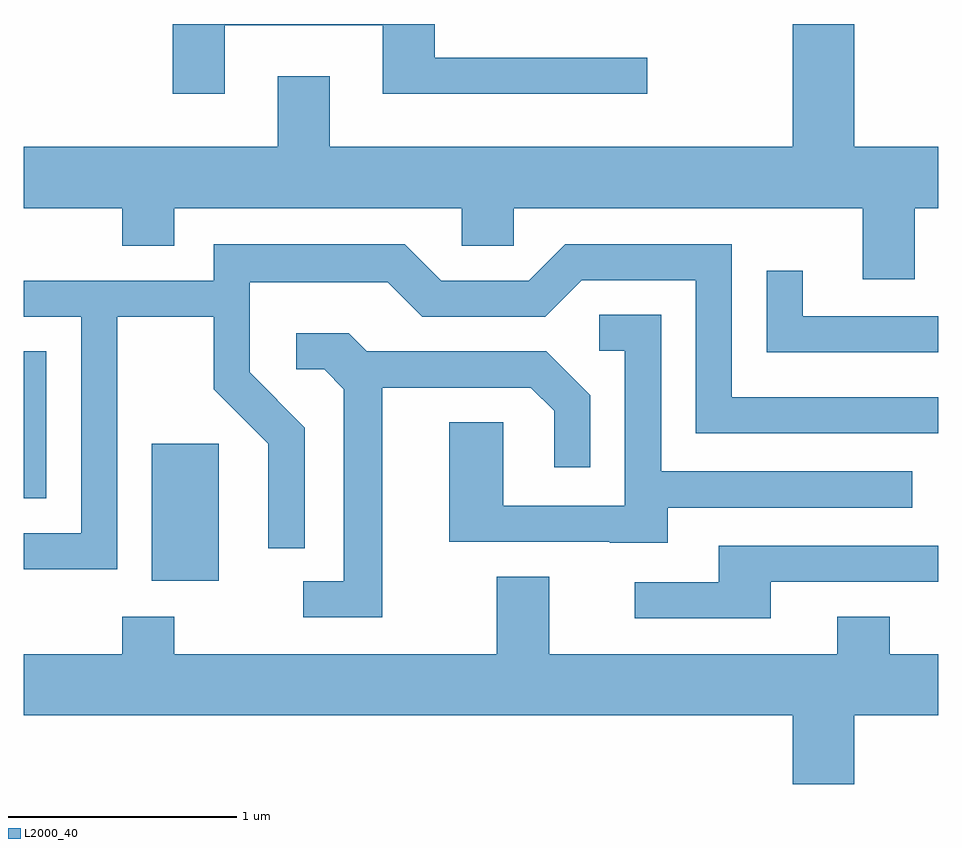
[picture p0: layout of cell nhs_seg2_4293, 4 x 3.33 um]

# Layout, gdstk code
import gdstk
lib = gdstk.Library(unit=1e-6, precision=1e-09)
def R(c, l, rs):  # rectangles x0, y0, x1, y1
    for r in rs: c.add(gdstk.rectangle(r[:2], r[2:], *l))
def P(c, l, *ps):  # polygons
    for p in ps: c.add(gdstk.Polygon(p, *l))
L2000_40 = (2000, 40)

nhs_seg2_4293 = lib.new_cell('nhs_seg2_4293')
R(nhs_seg2_4293, L2000_40, [(312.171,1033.366,312.464,1033.964), (311.611,1033.726,311.709,1034.369)])
P(nhs_seg2_4293, L2000_40, [(312.489,1035.796),(313.181,1035.796),(313.181,1035.496),(314.338,1035.496),(314.338,1035.654),(313.409,1035.654),(313.409,1035.802),(312.261,1035.802),(312.261,1035.496),(312.489,1035.496)],
  [(311.611,1034.996),(312.041,1034.996),(312.041,1034.831),(312.269,1034.831),(312.269,1034.996),(313.526,1034.996),(313.526,1034.831),(313.754,1034.831),(313.754,1034.996),(315.281,1034.996),(315.281,1034.686),(315.509,1034.686),(315.509,1034.996),(315.611,1034.996),(315.611,1035.264),(315.244,1035.264),(315.244,1035.802),(314.976,1035.802),(314.976,1035.264),(312.949,1035.264),(312.949,1035.574),(312.721,1035.574),(312.721,1035.264),(311.611,1035.264)],
  [(312.019,1034.521),(312.441,1034.521),(312.441,1034.204),(312.681,1033.964),(312.681,1033.507),(312.839,1033.507),(312.839,1034.036),(312.599,1034.277),(312.599,1034.671),(313.204,1034.671),(313.354,1034.521),(313.892,1034.521),(314.052,1034.681),(314.551,1034.681),(314.551,1034.011),(315.611,1034.011),(315.611,1034.169),(314.709,1034.169),(314.709,1034.839),(313.979,1034.839),(313.819,1034.679),(313.437,1034.679),(313.277,1034.839),(312.441,1034.839),(312.441,1034.679),(311.611,1034.679),(311.611,1034.521),(311.861,1034.521),(311.861,1033.574),(311.611,1033.574),(311.611,1033.416),(312.019,1033.416)],
  [(315.611,1034.524),(315.019,1034.524),(315.019,1034.723),(314.861,1034.723),(314.861,1034.366),(315.611,1034.366)],
  [(314.429,1033.686),(315.498,1033.686),(315.498,1033.844),(314.399,1033.844),(314.399,1034.529),(314.128,1034.529),(314.128,1034.371),(314.241,1034.371),(314.241,1033.694),(313.709,1033.694),(313.709,1034.059),(313.471,1034.059),(313.471,1033.536),(314.175,1033.536),(314.175,1033.531),(314.429,1033.531)],
  [(313.179,1034.211),(313.829,1034.211),(313.931,1034.109),(313.931,1033.863),(314.089,1033.863),(314.089,1034.177),(313.897,1034.369),(313.112,1034.369),(313.032,1034.449),(312.803,1034.449),(312.803,1034.291),(312.924,1034.291),(313.011,1034.204),(313.011,1033.364),(312.833,1033.364),(312.833,1033.206),(313.179,1033.206)],
  [(314.879,1033.361),(315.611,1033.361),(315.611,1033.519),(314.651,1033.519),(314.651,1033.359),(314.283,1033.359),(314.283,1033.201),(314.879,1033.201)],
  [(315.244,1032.776),(315.611,1032.776),(315.611,1033.044),(315.399,1033.044),(315.399,1033.209),(315.171,1033.209),(315.171,1033.044),(313.909,1033.044),(313.909,1033.384),(313.681,1033.384),(313.681,1033.044),(312.269,1033.044),(312.269,1033.209),(312.041,1033.209),(312.041,1033.044),(311.611,1033.044),(311.611,1032.776),(314.976,1032.776),(314.976,1032.476),(315.244,1032.476)])

lib.write_gds('nhs_seg2_4293.gds')
